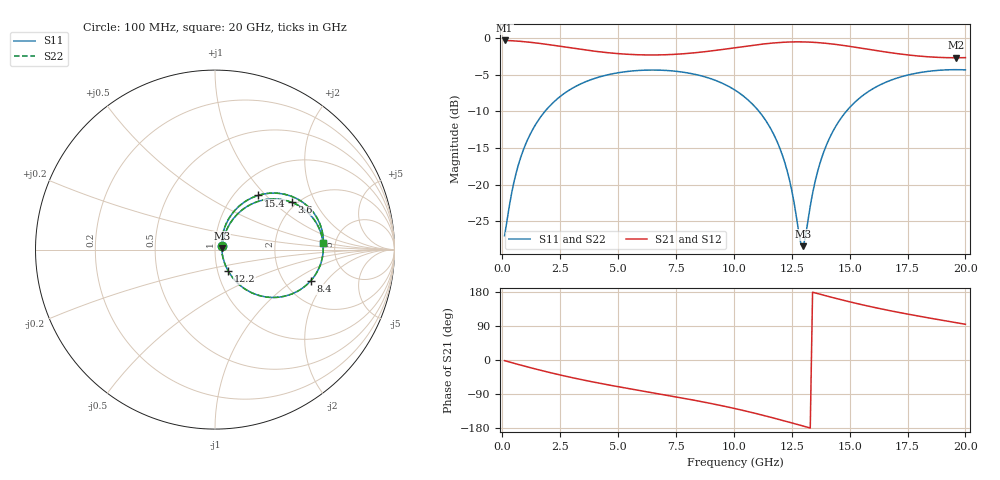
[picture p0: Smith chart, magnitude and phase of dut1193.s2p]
! Touchstone file exported from HFSS 2026.1.0
!  File:  C:/ffzhzh/LocalFiles/Ansys_Project_Files/temp_train_TSV_RDL_1193_1783317337_38820.aedt
!  Generated:  02:04:57 PM Jul  6, 2026
!  Design:  TSV_RDL
!  Project:  temp_train_TSV_RDL_1193_1783317337_38820
! Variables:
!  h_bsmrdl = 5.83um
!  h_ox = 20um
!  h_rdl = 5um
!  h_sub = 50.59um
!  h_tmrdl = 2.97um
!  h_tsv = 50.59um
!  h_via = 3um
!  l_bsmrdl = 188.39um
!  l_sub = 4690.37um
!  l_tmrdl = 908.32um
!  m_sub = 200um
!  pitch = 37.45um
!  r_tsv = 6.76um
!  s_tmrdl = 10um
!  w_bsmrdl = 19.56um
!  w_sub = 500um
!  w_tmrdl = 11.08um
!  x_tsv_center1 = 913.86um
!  x_tsv_center2 = 1121.81um
!  x_tsv_center3 = 2041.21um
!  x_tsv_center4 = 2249.16um
!  x_tsv_center5 = 3168.56um
!  x_tsv_center6 = 3376.51um
# GHz S MA R 50.000000
! Terminal data exported
! Port[1] = TM_RDL1_1_T1
! Port[2] = TM_RDL5_1_T1
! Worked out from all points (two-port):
!   200 points, 100 MHz to 20 GHz, reference 50 ohm
!   highest |S21| = -0.36 dB at 100 MHz (marker M1); lowest = -2.7 dB at 19.6 GHz (marker M2)
!   |S21| within 3 dB of the highest: start of sweep to end of sweep
!   lowest |S11| = -28.4 dB at 13 GHz (marker M3), VSWR 1.08, Z = 53.8 + j0.967 ohm
!   |S11| at or under -10 dB: start of sweep to 1.849 GHz; 11.08 GHz to 14.86 GHz (3.782 GHz wide, 29.2 % of centre)
!   |S22| runs from -28.6 to -4.3 dB; largest |S21 - S12| = 2e-14
!   S11 on the Smith chart (normalised r, x): 100 MHz: 1.08, +0.04; 3.6 GHz: 1.88, +1.33; 8.4 GHz: 2.75, -1.40; 12.2 GHz: 1.13, -0.28; 15.4 GHz: 1.27, +0.90; 20 GHz: 4.01, +0.45
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0.1  0.04482 24.0  0.9594 -1.7  0.9594 -1.7  0.04482 24.0
! Gamma 0 0 0 0
! Port Impedance 50 0 50 0
0.6  0.1203 59.0  0.951 -10.3  0.951 -10.3  0.1203 59.0
1.2  0.2195 58.4  0.9325 -20.0  0.9325 -20.0  0.2196 58.4
2.2  0.3626 48.0  0.8896 -35.3  0.8896 -35.3  0.3626 48.0
3.5  0.4945 32.8  0.8298 -52.8  0.8298 -52.8  0.4946 32.8
3.6  0.5022 31.6  0.8256 -54.1  0.8256 -54.1  0.5022 31.6
5.2  0.5845 14.5  0.7762 -72.6  0.7762 -72.6  0.5845 14.5
6.8  0.6023 -1.7  0.765 -89.8  0.765 -89.8  0.6023 -1.7
8.4  0.5603 -18.2  0.7933 -107.5  0.7933 -107.5  0.5604 -18.2
10.1  0.4353 -37.6  0.8583 -128.9  0.8583 -128.9  0.4353 -37.7
11.3  0.2848 -52.0  0.9087 -146.5  0.9087 -146.5  0.2848 -52.1
12.2  0.1414 -58.2  0.9336 -161.0  0.9336 -161.0  0.1413 -58.5
12.5  0.09148 -54.2  0.9374 -166.0  0.9374 -166.0  0.09125 -54.6
12.9  0.03918 -11.8  0.9383 -172.7  0.9383 -172.7  0.03848 -12.3
13  0.03808 13.6  0.9378 -174.4  0.9378 -174.4  0.03731 13.7
13.4  0.08711 61.5  0.9327 178.9  0.9327 178.9  0.0867 62.0
13.7  0.1366 66.3  0.9259 173.9  0.9259 173.9  0.1363 66.6
14.2  0.2182 64.5  0.9095 165.8  0.9095 165.8  0.218 64.7
15.4  0.3852 51.5  0.8552 147.8  0.8552 147.8  0.385 51.6
16.7  0.5085 36.5  0.7945 130.7  0.7945 130.7  0.5084 36.6
19.6  0.6068 7.2  0.7314 98.5  0.7314 98.5  0.6067 7.3
20  0.6049 3.4  0.7326 94.3  0.7326 94.3  0.6048 3.4
